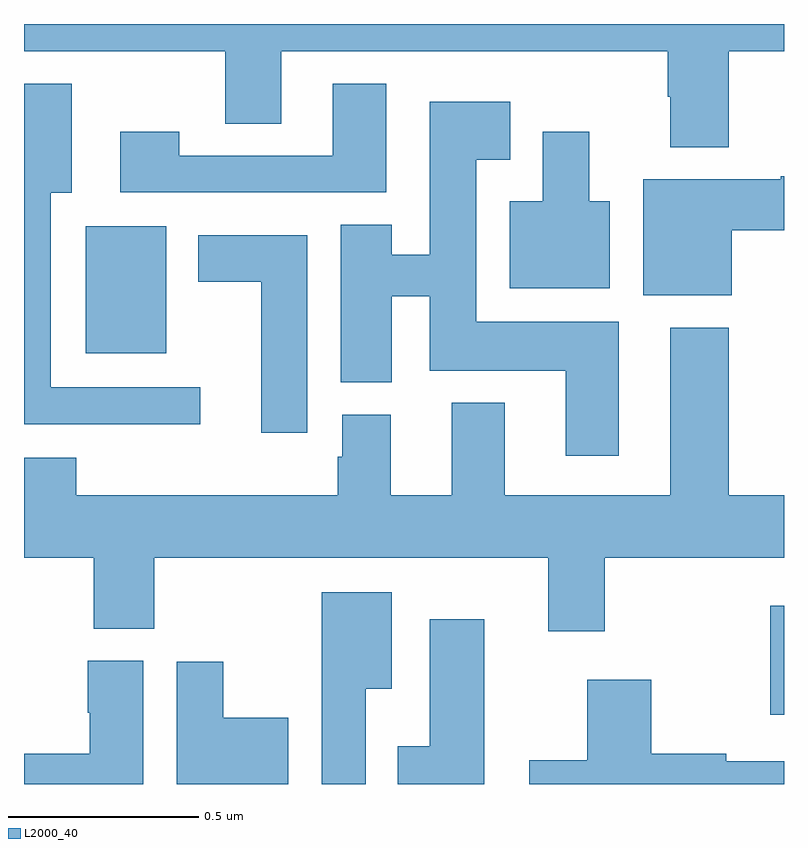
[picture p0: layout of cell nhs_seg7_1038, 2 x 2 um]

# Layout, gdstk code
import gdstk
lib = gdstk.Library(unit=1e-6, precision=1e-09)
def R(c, l, rs):  # rectangles x0, y0, x1, y1
    for r in rs: c.add(gdstk.rectangle(r[:2], r[2:], *l))
def P(c, l, *ps):  # polygons
    for p in ps: c.add(gdstk.Polygon(p, *l))
L2000_40 = (2000, 40)

nhs_seg7_1038 = lib.new_cell('nhs_seg7_1038')
R(nhs_seg7_1038, L2000_40, [(126.964,1020.182,127,1020.469), (125.162,1021.133,125.374,1021.468)])
P(nhs_seg7_1038, L2000_40, [(126.854,1021.928),(127,1021.928),(127,1022),(125,1022),(125,1021.928),(125.53,1021.928),(125.53,1021.738),(125.677,1021.738),(125.677,1021.928),(126.694,1021.928),(126.694,1021.808),(126.701,1021.808),(126.701,1021.676),(126.854,1021.676)],
  [(125.953,1021.843),(125.813,1021.843),(125.813,1021.653),(125.409,1021.653),(125.409,1021.717),(125.253,1021.717),(125.253,1021.557),(125.953,1021.557)],
  [(125.464,1021.044),(125.071,1021.044),(125.071,1021.556),(125.125,1021.556),(125.125,1021.843),(125,1021.843),(125,1020.947),(125.464,1020.947)],
  [(126.565,1021.216),(126.19,1021.216),(126.19,1021.643),(126.28,1021.643),(126.28,1021.795),(126.068,1021.795),(126.068,1021.393),(125.968,1021.393),(125.968,1021.472),(125.834,1021.472),(125.834,1021.057),(125.968,1021.057),(125.968,1021.284),(126.068,1021.284),(126.068,1021.088),(126.425,1021.088),(126.425,1020.864),(126.565,1020.864)],
  [(126.541,1021.534),(126.487,1021.534),(126.487,1021.717),(126.365,1021.717),(126.365,1021.534),(126.278,1021.534),(126.278,1021.304),(126.541,1021.304)],
  [(126.862,1021.457),(127,1021.457),(127,1021.599),(126.992,1021.599),(126.992,1021.591),(126.629,1021.591),(126.629,1021.286),(126.862,1021.286)],
  [(125.746,1021.444),(125.459,1021.444),(125.459,1021.322),(125.624,1021.322),(125.624,1020.924),(125.746,1020.924)],
  [(126.528,1020.596),(127,1020.596),(127,1020.76),(126.854,1020.76),(126.854,1021.201),(126.701,1021.201),(126.701,1020.76),(126.265,1020.76),(126.265,1021.003),(126.125,1021.003),(126.125,1020.76),(125.965,1020.76),(125.965,1020.972),(125.837,1020.972),(125.837,1020.861),(125.825,1020.861),(125.825,1020.76),(125.138,1020.76),(125.138,1020.859),(125,1020.859),(125,1020.596),(125.183,1020.596),(125.183,1020.409),(125.343,1020.409),(125.343,1020.596),(126.38,1020.596),(126.38,1020.402),(126.528,1020.402)],
  [(125.899,1020.251),(125.968,1020.251),(125.968,1020.505),(125.783,1020.505),(125.783,1020),(125.899,1020)],
  [(126.211,1020.433),(126.068,1020.433),(126.068,1020.1),(125.984,1020.1),(125.984,1020),(126.211,1020)],
  [(125.314,1020.324),(125.168,1020.324),(125.168,1020.188),(125.173,1020.188),(125.173,1020.08),(125,1020.08),(125,1020),(125.314,1020)],
  [(125.695,1020.175),(125.524,1020.175),(125.524,1020.322),(125.402,1020.322),(125.402,1020),(125.695,1020)],
  [(127,1020.06),(126.848,1020.06),(126.848,1020.08),(126.65,1020.08),(126.65,1020.274),(126.482,1020.274),(126.482,1020.063),(126.33,1020.063),(126.33,1020),(127,1020)])

lib.write_gds('nhs_seg7_1038.gds')
